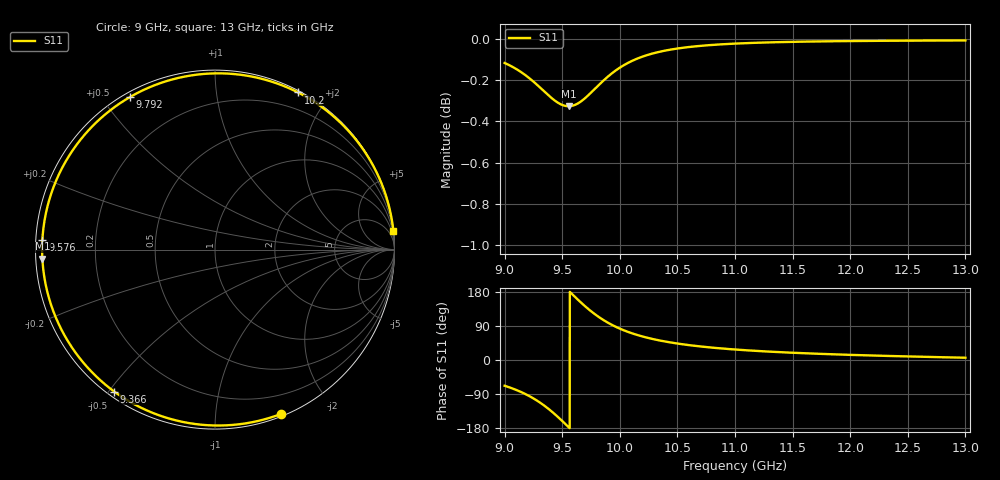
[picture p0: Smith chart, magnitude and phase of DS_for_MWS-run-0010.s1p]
! TOUCHSTONE file generated by CST DESIGN STUDIO
! Date and time: Tue Feb  4 18:14:41 2025
! Project name: C:\Work\MatlabApps\UnitCellOptimizationMatlab\CST\unitcell.cst
! Tree item: Tasks\Sweep1\SPara1\S-Parameters
! Header version: 2024
! Port assignment regex: !\s*Touchstone port\s*([0-9]+)\s*=\s*(CST MWS port|CST DES external port|CST DES block port)\s*(.+)\s* \(\"(.*)\"\)(\s*mode\s*([0-9]+))?.*
! Touchstone port assignment:
! Touchstone port 1 = CST DES external port 1 ("")
# GHz S MA R 50
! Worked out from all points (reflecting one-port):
!   4001 points, 9 GHz to 13 GHz, reference 50 ohm
!   lowest |S11| = -0.3 dB at 9.555 GHz (marker M1), VSWR 53.27, Z = 0.939 - j1.31 ohm
!   phase of S11 starts at -68 deg and turns -286 deg over the sweep
!   S11 on the Smith chart (normalised r, x): 9 GHz: 0.02, -1.48; 9.366 GHz: 0.02, -0.52; 9.576 GHz: 0.02, +0.03; 9.792 GHz: 0.02, +0.59; 10.2 GHz: 0.02, +1.66; 13 GHz: 0, +19
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9  0.9867 -68.0
9.04  0.9855 -72.0
9.106  0.9832 -79.6
9.219  0.9782 -96.0
9.297  0.9739 -110.3
9.366  0.9699 -125.4
9.431  0.9664 -141.7
9.5  0.9638 -160.9
9.555  0.9631 -177.0
9.576  0.9632 176.8
9.631  0.9645 160.6
9.691  0.9671 143.9
9.741  0.9699 131.0
9.792  0.9731 119.0
9.837  0.9758 109.5
9.885  0.9786 100.5
9.939  0.9814 91.5
10  0.9841 82.8
10.094  0.9875 71.7
10.196  0.9902 62.1
10.335  0.9928 52.2
10.5  0.9948 43.5
10.721  0.9963 35.1
11  0.9975 27.7
11.5  0.9985 19.1
12  0.9989 13.5
12.5  0.9991 9.4
13  0.9993 6.0
